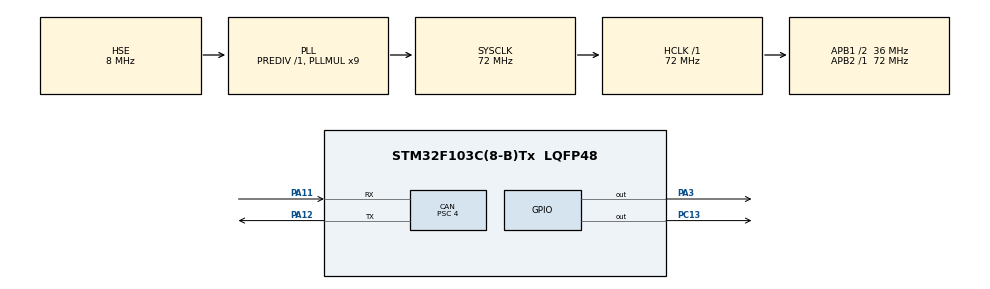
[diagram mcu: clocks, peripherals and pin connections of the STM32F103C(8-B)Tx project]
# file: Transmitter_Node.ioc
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CAN.BS1=CAN_BS1_1TQ
CAN.BS2=CAN_BS2_2TQ
CAN.CalculateBaudRate=2250000
CAN.CalculateTimeBit=444
CAN.CalculateTimeQuantum=111.11111111111111
CAN.Prescaler=4
Mcu.Family=STM32F1
Mcu.Name=STM32F103C(8-B)Tx
Mcu.Package=LQFP48
NVIC.PriorityGroup=NVIC_PRIORITYGROUP_4
NVIC.USB_LP_CAN1_RX0_IRQn=true\:0\:0\:false\:false\:true\:true\:true
PA11.Mode=CAN_Activate
PA11.Signal=CAN_RX
PA12.Mode=CAN_Activate
PA12.Signal=CAN_TX
PA3.Signal=GPIO_Output
PC13-TAMPER-RTC.Signal=GPIO_Output
PD0-OSC_IN.Mode=HSE-External-Oscillator
PD0-OSC_IN.Signal=RCC_OSC_IN
PD1-OSC_OUT.Mode=HSE-External-Oscillator
PD1-OSC_OUT.Signal=RCC_OSC_OUT
ProjectManager.HeapSize=0x200
ProjectManager.StackSize=0x400
ProjectManager.TargetToolchain=STM32CubeIDE
RCC.AHBFreq_Value=72000000
RCC.APB1CLKDivider=RCC_HCLK_DIV2
RCC.APB1Freq_Value=36000000
RCC.APB1TimFreq_Value=72000000
RCC.APB2Freq_Value=72000000
RCC.APB2TimFreq_Value=72000000
RCC.HCLKFreq_Value=72000000
RCC.PLLMUL=RCC_PLL_MUL9
RCC.PLLSourceVirtual=RCC_PLLSOURCE_HSE
RCC.SYSCLKFreq_VALUE=72000000
RCC.SYSCLKSource=RCC_SYSCLKSOURCE_PLLCLK
RCC.USBFreq_Value=72000000
VP_SYS_VS_ND.Mode=No_Debug
board=custom

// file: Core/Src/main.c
/* USER CODE BEGIN Header */
/**
  ******************************************************************************
  * @file           : main.c
  * @brief          : Main program body
  ******************************************************************************
  * @attention
  *
  * Copyright (c) 2021 STMicroelectronics.
  * All rights reserved.
  *
  * This software is licensed under terms that can be found in the LICENSE file
  * in the root directory of this software component.
  * If no LICENSE file comes with this software, it is provided AS-IS.
  *
  ******************************************************************************
  */
/* USER CODE END Header */
#include "main.h"

CAN_HandleTypeDef hcan;

/* USER CODE BEGIN PV */
CAN_RxHeaderTypeDef rxHeader;//CAN Bus Transmit Header
CAN_TxHeaderTypeDef txHeader;//CAN Bus Receive Header
uint8_t canRx[8] = {0,0,0,0,0,0,0,0}; //CAN Bus Receive Buffer
uint8_t canTx[8];//CAN Bus Transmit Buffer
CAN_FilterTypeDef canFil; // CAN Bus Filter
uint32_t canMailBox; //CAN Bus Mail box variable

/* USER CODE END PV */

void SystemClock_Config(void);
static void MX_GPIO_Init(void);
static void MX_CAN_Init(void);

int main(void)
{

  /* MCU Configuration--------------------------------------------------------*/

  /* Reset of all peripherals, Initializes the Flash interface and the Systick. */
  HAL_Init();

  /* Configure the system clock */
  SystemClock_Config();

  /* Initialize all configured peripherals */
  MX_GPIO_Init();
  MX_CAN_Init();
  /* USER CODE BEGIN 2 */

//Receiver FIlter in Receiver Side
canFil.FilterBank=10;
canFil.FilterMode = CAN_FILTERMODE_IDMASK;
canFil.FilterFIFOAssignment = CAN_RX_FIFO0;
canFil.FilterIdHigh=0x446<<5;
canFil.FilterIdLow=0x0000;
canFil.FilterMaskIdHigh=0x446<<5;
canFil.FilterMaskIdLow=0x0000;
canFil.FilterScale=CAN_FILTERSCALE_32BIT;
canFil.FilterActivation = ENABLE;
canFil.SlaveStartFilterBank = 14;

//Transmission Header
txHeader.DLC = 2;
txHeader.IDE = CAN_ID_STD;
txHeader.RTR = CAN_RTR_DATA;
txHeader.StdId = 0x030;
txHeader.ExtId = 0x02;
txHeader.TransmitGlobalTime = DISABLE;

//Transmission Data
canTx[0]=50;
canTx[1]=0xAA;

  /* USER CODE END 2 */
HAL_CAN_ConfigFilter(&hcan,&canFil);
HAL_CAN_Start(&hcan);
HAL_CAN_ActivateNotification(&hcan,CAN_IT_RX_FIFO0_MSG_PENDING);
  /* Infinite loop */
  while (1)
  {
	  if(HAL_CAN_AddTxMessage(&hcan,&txHeader,&canTx,&canMailBox)!=HAL_OK)
	  {
		  Error_Handler();
	  }
//	  uint8_t csend[] = {0x01,0x02,0x03,0x04,0x05,0x06,0x07,0x08};
//	  HAL_CAN_AddTxMessage(&hcan,&txHeader,csend,&canMailBox);
//	  HAL_Delay(500);
	  HAL_GPIO_TogglePin(GPIOC, GPIO_PIN_13);
	  HAL_Delay(500);
  }
}

void SystemClock_Config(void)
{
  RCC_OscInitTypeDef RCC_OscInitStruct = {0};
  RCC_ClkInitTypeDef RCC_ClkInitStruct = {0};

  /** Initializes the RCC Oscillators according to the specified parameters
  * in the RCC_OscInitTypeDef structure.
  */
  RCC_OscInitStruct.OscillatorType = RCC_OSCILLATORTYPE_HSE;
  RCC_OscInitStruct.HSEState = RCC_HSE_ON;
  RCC_OscInitStruct.HSEPredivValue = RCC_HSE_PREDIV_DIV1;
  RCC_OscInitStruct.HSIState = RCC_HSI_ON;
  RCC_OscInitStruct.PLL.PLLState = RCC_PLL_ON;
  RCC_OscInitStruct.PLL.PLLSource = RCC_PLLSOURCE_HSE;
  RCC_OscInitStruct.PLL.PLLMUL = RCC_PLL_MUL9;
  if (HAL_RCC_OscConfig(&RCC_OscInitStruct) != HAL_OK)
  {
    Error_Handler();
  }
  /** Initializes the CPU, AHB and APB buses clocks
  */
  RCC_ClkInitStruct.ClockType = RCC_CLOCKTYPE_HCLK|RCC_CLOCKTYPE_SYSCLK
                              |RCC_CLOCKTYPE_PCLK1|RCC_CLOCKTYPE_PCLK2;
  RCC_ClkInitStruct.SYSCLKSource = RCC_SYSCLKSOURCE_PLLCLK;
  RCC_ClkInitStruct.AHBCLKDivider = RCC_SYSCLK_DIV1;
  RCC_ClkInitStruct.APB1CLKDivider = RCC_HCLK_DIV2;
  RCC_ClkInitStruct.APB2CLKDivider = RCC_HCLK_DIV1;

  if (HAL_RCC_ClockConfig(&RCC_ClkInitStruct, FLASH_LATENCY_2) != HAL_OK)
  {
    Error_Handler();
  }
}

static void MX_CAN_Init(void)
{

  hcan.Instance = CAN1;
  hcan.Init.Prescaler = 4;
  hcan.Init.Mode = CAN_MODE_NORMAL;
  hcan.Init.SyncJumpWidth = CAN_SJW_1TQ;
  hcan.Init.TimeSeg1 = CAN_BS1_1TQ;
  hcan.Init.TimeSeg2 = CAN_BS2_2TQ;
  hcan.Init.TimeTriggeredMode = DISABLE;
  hcan.Init.AutoBusOff = DISABLE;
  hcan.Init.AutoWakeUp = DISABLE;
  hcan.Init.AutoRetransmission = DISABLE;
  hcan.Init.ReceiveFifoLocked = DISABLE;
  hcan.Init.TransmitFifoPriority = DISABLE;
  if (HAL_CAN_Init(&hcan) != HAL_OK)
  {
    Error_Handler();
  }

}

static void MX_GPIO_Init(void)
{
  GPIO_InitTypeDef GPIO_InitStruct = {0};

  /* GPIO Ports Clock Enable */
  __HAL_RCC_GPIOC_CLK_ENABLE();
  __HAL_RCC_GPIOD_CLK_ENABLE();
  __HAL_RCC_GPIOA_CLK_ENABLE();

  /*Configure GPIO pin Output Level */
  HAL_GPIO_WritePin(GPIOC, GPIO_PIN_13, GPIO_PIN_RESET);

  /*Configure GPIO pin Output Level */
  HAL_GPIO_WritePin(GPIOA, GPIO_PIN_3, GPIO_PIN_RESET);

  /*Configure GPIO pin : PC13 */
  GPIO_InitStruct.Pin = GPIO_PIN_13;
  GPIO_InitStruct.Mode = GPIO_MODE_OUTPUT_PP;
  GPIO_InitStruct.Pull = GPIO_NOPULL;
  GPIO_InitStruct.Speed = GPIO_SPEED_FREQ_LOW;
  HAL_GPIO_Init(GPIOC, &GPIO_InitStruct);

  /*Configure GPIO pin : PA3 */
  GPIO_InitStruct.Pin = GPIO_PIN_3;
  GPIO_InitStruct.Mode = GPIO_MODE_OUTPUT_PP;
  GPIO_InitStruct.Pull = GPIO_NOPULL;
  GPIO_InitStruct.Speed = GPIO_SPEED_FREQ_LOW;
  HAL_GPIO_Init(GPIOA, &GPIO_InitStruct);

}

/* USER CODE BEGIN 4 */

//Receive interrupt
void HAL_CAN_RxFifo0MsgPendingCallback(CAN_HandleTypeDef *hcan1)
{
	HAL_CAN_GetRxMessage(hcan1, CAN_RX_FIFO0, &rxHeader, canRx);
	HAL_GPIO_TogglePin(GPIOA, GPIO_PIN_3);

}

/* USER CODE END 4 */

void Error_Handler(void)
{
  __disable_irq();
  while (1)
  {
  }
}
